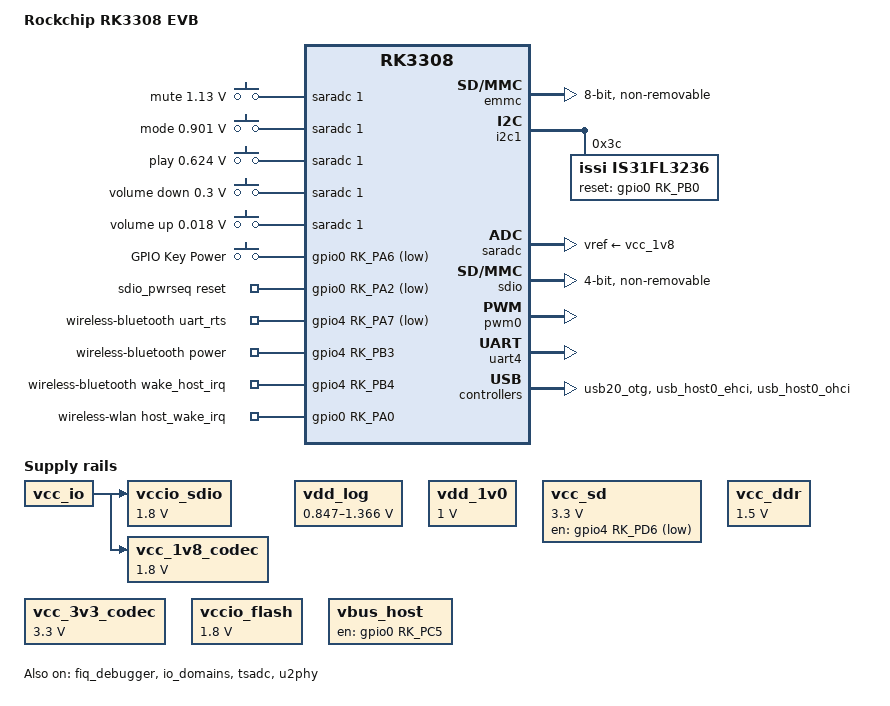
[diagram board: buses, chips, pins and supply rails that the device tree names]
/*
 * Copyright (c) 2018 Fuzhou Rockchip Electronics Co., Ltd
 *
 * SPDX-License-Identifier: (GPL-2.0+ OR MIT)
 */

#include <dt-bindings/input/input.h>
#include "rk3308.dtsi"

/ {
	model = "Rockchip RK3308 EVB";
	compatible = "rockchip,rk3308-evb", "rockchip,rk3308";

	chosen {
		bootargs = "earlycon=uart8250,mmio32,0xff0c0000 swiotlb=1 console=ttyFIQ0 root=PARTUUID=614e0000-0000 rootfstype=squashfs rootwait";
	};

	adc-keys {
		compatible = "adc-keys";
		io-channels = <&saradc 1>;
		io-channel-names = "buttons";
		poll-interval = <100>;
		keyup-threshold-microvolt = <1800000>;

		esc-key {
			linux,code = <KEY_MUTE>;
			label = "mute";
			press-threshold-microvolt = <1130000>;
		};

		home-key {
			linux,code = <KEY_MODE>;
			label = "mode";
			press-threshold-microvolt = <901000>;
		};

		menu-key {
			linux,code = <KEY_PLAY>;
			label = "play";
			press-threshold-microvolt = <624000>;
		};

		vol-down-key {
			linux,code = <KEY_VOLUMEDOWN>;
			label = "volume down";
			press-threshold-microvolt = <300000>;
		};

		vol-up-key {
			linux,code = <KEY_VOLUMEUP>;
			label = "volume up";
			press-threshold-microvolt = <18000>;
		};
	};

	dummy_codec: dummy-codec {
		compatible = "rockchip,dummy-codec";
		#sound-dai-cells = <0>;
	};

	gpio-keys {
		compatible = "gpio-keys";
		autorepeat;

		pinctrl-names = "default";
		pinctrl-0 = <&pwr_key>;

		power {
			gpios = <&gpio0 RK_PA6 GPIO_ACTIVE_LOW>;
			linux,code = <KEY_POWER>;
			label = "GPIO Key Power";
			wakeup-source;
			debounce-interval = <100>;
		};
	};

	sdio_pwrseq: sdio-pwrseq {
		compatible = "mmc-pwrseq-simple";
		pinctrl-names = "default";
		pinctrl-0 = <&wifi_enable_h>;

		/*
		 * On the module itself this is one of these (depending
		 * on the actual card populated):
		 * - SDIO_RESET_L_WL_REG_ON
		 * - PDN (power down when low)
		 */
		reset-gpios = <&gpio0 RK_PA2 GPIO_ACTIVE_LOW>;
	};

	spdif_tx_sound: spdif-tx-sound {
		status = "disabled";
		compatible = "simple-audio-card";
		simple-audio-card,name = "rockchip,spdif-tx-sound";
		simple-audio-card,cpu {
			sound-dai = <&spdif_tx>;
		};
		simple-audio-card,codec {
			sound-dai = <&dummy_codec>;
		};
	};

	vdd_log: vdd_core: vdd-core {
		compatible = "pwm-regulator";
		pwms = <&pwm0 0 5000 1>;
		regulator-name = "vdd_core";
		regulator-min-microvolt = <847000>;
		regulator-max-microvolt = <1366000>;
		regulator-init-microvolt = <1044000>;
		regulator-always-on;
		regulator-boot-on;
		regulator-settling-time-up-us = <250>;
		status = "okay";
	};

	vdd_1v0: vdd-1v0 {
		compatible = "regulator-fixed";
		regulator-name = "vdd_1v0";
		regulator-always-on;
		regulator-boot-on;
		regulator-min-microvolt = <1000000>;
		regulator-max-microvolt = <1000000>;
	};

	vccio_sdio: vcc_1v8: vcc-1v8 {
		compatible = "regulator-fixed";
		regulator-name = "vcc_1v8";
		regulator-always-on;
		regulator-boot-on;
		regulator-min-microvolt = <1800000>;
		regulator-max-microvolt = <1800000>;
		vin-supply = <&vcc_io>;
	};

	vcc_sd: vcc-sd {
		compatible = "regulator-fixed";
		gpio = <&gpio4 RK_PD6 GPIO_ACTIVE_LOW>;
		regulator-name = "vcc_sd";
		regulator-min-microvolt = <3300000>;
		regulator-max-microvolt = <3300000>;
	};

	vcc_1v8_codec: vcc-1v8-codec {
		compatible = "regulator-fixed";
		regulator-name = "vcc_1v8_codec";
		regulator-always-on;
		regulator-boot-on;
		regulator-min-microvolt = <1800000>;
		regulator-max-microvolt = <1800000>;
		vin-supply = <&vcc_io>;
	};

	vcc_ddr: vcc-ddr {
		compatible = "regulator-fixed";
		regulator-name = "vcc_ddr";
		regulator-always-on;
		regulator-boot-on;
		regulator-min-microvolt = <1500000>;
		regulator-max-microvolt = <1500000>;
	};

	vcc_3v3_codec: vcc_io: vcc-io {
		compatible = "regulator-fixed";
		regulator-name = "vcc_io";
		regulator-always-on;
		regulator-boot-on;
		regulator-min-microvolt = <3300000>;
		regulator-max-microvolt = <3300000>;
	};

	vccio_flash: vccio-flash {
		compatible = "regulator-fixed";
		regulator-name = "vccio_flash";
		regulator-always-on;
		regulator-boot-on;
		regulator-min-microvolt = <1800000>;
		regulator-max-microvolt = <1800000>;
	};

	vbus_host: vbus-host-regulator {
		compatible = "regulator-fixed";
		enable-active-high;
		gpio = <&gpio0 RK_PC5 GPIO_ACTIVE_HIGH>;
		pinctrl-names = "default";
		pinctrl-0 = <&usb_drv>;
		regulator-name = "vbus_host";
	};

	wireless-bluetooth {
		compatible = "bluetooth-platdata";
		uart_rts_gpios = <&gpio4 RK_PA7 GPIO_ACTIVE_LOW>;
		pinctrl-names = "default", "rts_gpio";
		pinctrl-0 = <&uart4_rts>;
		pinctrl-1 = <&uart4_rts_gpio>;
		BT,power_gpio    = <&gpio4 RK_PB3 GPIO_ACTIVE_HIGH>;
		BT,wake_host_irq = <&gpio4 RK_PB4 GPIO_ACTIVE_HIGH>;
		status = "okay";
	};

	wireless-wlan {
		compatible = "wlan-platdata";
		rockchip,grf = <&grf>;
		wifi_chip_type = "ap6255";
		WIFI,host_wake_irq = <&gpio0 RK_PA0 GPIO_ACTIVE_HIGH>;
		status = "okay";
	};
};

&cpu0 {
	cpu-supply = <&vdd_core>;
};

&emmc {
	bus-width = <8>;
	cap-mmc-highspeed;
	mmc-hs200-1_8v;
	supports-emmc;
	disable-wp;
	non-removable;
	num-slots = <1>;
	status = "okay";
};

&fiq_debugger {
	status = "okay";
};

&io_domains {
	status = "okay";

	vccio0-supply = <&vcc_io>;
	vccio1-supply = <&vcc_io>;
	vccio2-supply = <&vcc_1v8>;
	vccio3-supply = <&vccio_flash>;
	vccio4-supply = <&vccio_sdio>;
	vccio5-supply = <&vcc_io>;
};

&i2c1 {
	status = "okay";

	is31fl3236: led-controller@3c {
		compatible = "issi,is31fl3236";
		reg = <0x3c>;
		#address-cells = <1>;
		#size-cells = <0>;
		reset-gpios = <&gpio0 RK_PB0 GPIO_ACTIVE_HIGH>;
		status = "okay";

		led1: led@1 {
			label = "led1";
			reg = <1>;
			led-max-microamp = <10000>;
			linux,default-trigger = "timer";
			linux,default-trigger-delay-ms = <0>;
			linux,blink-delay-on-ms = <100>;
			linux,blink-delay-off-ms = <1200>;
		};

		led2: led@2 {
			label = "led2";
			reg = <2>;
			led-max-microamp = <10000>;
			linux,default-trigger = "timer";
			linux,default-trigger-delay-ms = <0>;
			linux,blink-delay-on-ms = <100>;
			linux,blink-delay-off-ms = <1200>;
		};

		led3: led@3 {
			label = "led3";
			reg = <3>;
			led-max-microamp = <10000>;
			linux,default-trigger = "default-on";
		};

		led4: led@4 {
			label = "led4";
			reg = <4>;
			led-max-microamp = <10000>;
			linux,default-trigger = "timer";
			linux,default-trigger-delay-ms = <100>;
			linux,blink-delay-on-ms = <100>;
			linux,blink-delay-off-ms = <1200>;
		};

		led5: led@5 {
			label = "led5";
			reg = <5>;
			led-max-microamp = <10000>;
			linux,default-trigger = "timer";
			linux,default-trigger-delay-ms = <100>;
			linux,blink-delay-on-ms = <100>;
			linux,blink-delay-off-ms = <1200>;
		};

		led6: led@6 {
			label = "led6";
			reg = <6>;
			led-max-microamp = <10000>;
			linux,default-trigger = "default-on";
		};

		led7: led@7 {
			label = "led7";
			reg = <7>;
			led-max-microamp = <10000>;
			linux,default-trigger = "timer";
			linux,default-trigger-delay-ms = <200>;
			linux,blink-delay-on-ms = <100>;
			linux,blink-delay-off-ms = <1200>;
		};

		led8: led@8 {
			label = "led8";
			reg = <8>;
			led-max-microamp = <10000>;
			linux,default-trigger = "timer";
			linux,default-trigger-delay-ms = <200>;
			linux,blink-delay-on-ms = <100>;
			linux,blink-delay-off-ms = <1200>;
		};

		led9: led@9 {
			label = "led9";
			reg = <9>;
			led-max-microamp = <10000>;
			linux,default-trigger = "default-on";
		};

		led10: led@10 {
			label = "led10";
			reg = <10>;
			led-max-microamp = <10000>;
			linux,default-trigger = "timer";
			linux,default-trigger-delay-ms = <300>;
			linux,blink-delay-on-ms = <100>;
			linux,blink-delay-off-ms = <1200>;
		};

		led11: led@11 {
			label = "led11";
			reg = <11>;
			led-max-microamp = <10000>;
			linux,default-trigger = "timer";
			linux,default-trigger-delay-ms = <300>;
			linux,blink-delay-on-ms = <100>;
			linux,blink-delay-off-ms = <1200>;
		};

		led12: led@12 {
			label = "led12";
			reg = <12>;
			led-max-microamp = <10000>;
			linux,default-trigger = "default-on";
		};

		led13: led@13 {
			label = "led13";
			reg = <13>;
			led-max-microamp = <10000>;
			linux,default-trigger = "timer";
			linux,default-trigger-delay-ms = <400>;
			linux,blink-delay-on-ms = <100>;
			linux,blink-delay-off-ms = <1200>;
		};

		led14: led@14 {
			label = "led14";
			reg = <14>;
			led-max-microamp = <10000>;
			linux,default-trigger = "timer";
			linux,default-trigger-delay-ms = <400>;
			linux,blink-delay-on-ms = <100>;
			linux,blink-delay-off-ms = <1200>;
		};

		led15: led@15 {
			label = "led15";
			reg = <15>;
			led-max-microamp = <10000>;
			linux,default-trigger = "default-on";
		};

		led16: led@16 {
			label = "led16";
			reg = <16>;
			led-max-microamp = <10000>;
			linux,default-trigger = "timer";
			linux,default-trigger-delay-ms = <500>;
			linux,blink-delay-on-ms = <100>;
			linux,blink-delay-off-ms = <1200>;
		};

		led17: led@17 {
			label = "led17";
			reg = <17>;
			led-max-microamp = <10000>;
			linux,default-trigger = "timer";
			linux,default-trigger-delay-ms = <500>;
			linux,blink-delay-on-ms = <100>;
			linux,blink-delay-off-ms = <1200>;
		};

		led18: led@18 {
			label = "led18";
			reg = <18>;
			led-max-microamp = <10000>;
			linux,default-trigger = "default-on";
		};

		led19: led@19 {
			label = "led19";
			reg = <19>;
			led-max-microamp = <10000>;
			linux,default-trigger = "timer";
			linux,default-trigger-delay-ms = <600>;
			linux,blink-delay-on-ms = <100>;
			linux,blink-delay-off-ms = <1200>;
		};

		led20: led@20 {
			label = "led20";
			reg = <20>;
			led-max-microamp = <10000>;
			linux,default-trigger = "timer";
			linux,default-trigger-delay-ms = <600>;
			linux,blink-delay-on-ms = <100>;
			linux,blink-delay-off-ms = <1200>;
		};

		led21: led@21 {
			label = "led21";
			reg = <21>;
			led-max-microamp = <10000>;
			linux,default-trigger = "default-on";
		};

		led22: led@22 {
			label = "led22";
			reg = <22>;
			led-max-microamp = <10000>;
			linux,default-trigger = "timer";
			linux,default-trigger-delay-ms = <700>;
			linux,blink-delay-on-ms = <100>;
			linux,blink-delay-off-ms = <1200>;
		};

		led23: led@23 {
			label = "led23";
			reg = <23>;
			led-max-microamp = <10000>;
			linux,default-trigger = "timer";
			linux,default-trigger-delay-ms = <700>;
			linux,blink-delay-on-ms = <100>;
			linux,blink-delay-off-ms = <1200>;
		};

		led124: led@24 {
			label = "led24";
			reg = <24>;
			led-max-microamp = <10000>;
			linux,default-trigger = "default-on";
		};

		led25: led@25 {
			label = "led25";
			reg = <25>;
			led-max-microamp = <10000>;
			linux,default-trigger = "timer";
			linux,default-trigger-delay-ms = <800>;
			linux,blink-delay-on-ms = <100>;
			linux,blink-delay-off-ms = <1200>;
		};

		led26: led@26 {
			label = "led26";
			reg = <26>;
			led-max-microamp = <10000>;
			linux,default-trigger = "timer";
			linux,default-trigger-delay-ms = <800>;
			linux,blink-delay-on-ms = <100>;
			linux,blink-delay-off-ms = <1200>;
		};

		led27: led@27 {
			label = "led27";
			reg = <27>;
			led-max-microamp = <10000>;
			linux,default-trigger = "default-on";
		};

		led28: led@28 {
			label = "led28";
			reg = <28>;
			led-max-microamp = <10000>;
			linux,default-trigger = "timer";
			linux,default-trigger-delay-ms = <900>;
			linux,blink-delay-on-ms = <100>;
			linux,blink-delay-off-ms = <1200>;
		};

		led29: led@29 {
			label = "led29";
			reg = <29>;
			led-max-microamp = <10000>;
			linux,default-trigger = "timer";
			linux,default-trigger-delay-ms = <900>;
			linux,blink-delay-on-ms = <100>;
			linux,blink-delay-off-ms = <1200>;
		};

		led30: led@30 {
			label = "led30";
			reg = <30>;
			led-max-microamp = <10000>;
			linux,default-trigger = "default-on";
		};

		led31: led@31 {
			label = "led31";
			reg = <31>;
			led-max-microamp = <10000>;
			linux,default-trigger = "timer";
			linux,default-trigger-delay-ms = <1000>;
			linux,blink-delay-on-ms = <100>;
			linux,blink-delay-off-ms = <1200>;
		};

		led32: led@32 {
			label = "led32";
			reg = <32>;
			led-max-microamp = <10000>;
			linux,default-trigger = "timer";
			linux,default-trigger-delay-ms = <1000>;
			linux,blink-delay-on-ms = <100>;
			linux,blink-delay-off-ms = <1200>;
		};

		led33: led@33 {
			label = "led33";
			reg = <33>;
			led-max-microamp = <10000>;
			linux,default-trigger = "default-on";
		};

		led34: led@34 {
			label = "led34";
			reg = <34>;
			led-max-microamp = <10000>;
			linux,default-trigger = "timer";
			linux,default-trigger-delay-ms = <1100>;
			linux,blink-delay-on-ms = <100>;
			linux,blink-delay-off-ms = <1200>;
		};

		led35: led@35 {
			label = "led35";
			reg = <35>;
			led-max-microamp = <10000>;
			linux,default-trigger = "timer";
			linux,default-trigger-delay-ms = <1100>;
			linux,blink-delay-on-ms = <100>;
			linux,blink-delay-off-ms = <1200>;
		};

		led36: led@36 {
			label = "led36";
			reg = <36>;
			led-max-microamp = <10000>;
			linux,default-trigger = "default-on";
		};
	};
};

&saradc {
	status = "okay";
	vref-supply = <&vcc_1v8>;
};

&sdio {
	bus-width = <4>;
	cap-sd-highspeed;
	supports-sdio;
	ignore-pm-notify;
	keep-power-in-suspend;
	non-removable;
	mmc-pwrseq = <&sdio_pwrseq>;
	sd-uhs-sdr104;
	status = "okay";
};

&sdmmc {
	bus-width = <4>;
	cap-mmc-highspeed;
	cap-sd-highspeed;
	supports-sd;
	card-detect-delay = <300>;
	vmmc-supply = <&vcc_sd>;
	status = "disabled";
};

&tsadc {
	rockchip,hw-tshut-mode = <0>; /* tshut mode 0:CRU 1:GPIO */
	rockchip,hw-tshut-polarity = <1>; /* tshut polarity 0:LOW 1:HIGH */
	status = "okay";
};

&pinctrl {
	pinctrl-names = "default";
	pinctrl-0 = <&rtc_32k>;

	buttons {
		pwr_key: pwr-key {
			rockchip,pins = <0 RK_PA6 RK_FUNC_GPIO &pcfg_pull_up>;
		};
	};

	usb {
		usb_drv: usb-drv {
			rockchip,pins =
				<0 RK_PC5 RK_FUNC_GPIO &pcfg_pull_none>;
		};
	};

	sdio-pwrseq {
		wifi_enable_h: wifi-enable-h {
			rockchip,pins = <0 RK_PA2 RK_FUNC_GPIO &pcfg_pull_none>;
		};
	};
};

&pwm0 {
	status = "okay";
};

&u2phy {
	status = "okay";

	u2phy_host: host-port {
		phy-supply = <&vbus_host>;
		status = "okay";
	};

	u2phy_otg: otg-port {
		status = "okay";
	};
};

&uart4 {
	pinctrl-names = "default";
	pinctrl-0 = <&uart4_xfer &uart4_cts>;
	status = "okay";
};

&usb20_otg {
	status = "okay";
};

&usb_host0_ehci {
	status = "okay";
};

&usb_host0_ohci{
	status = "okay";
};
